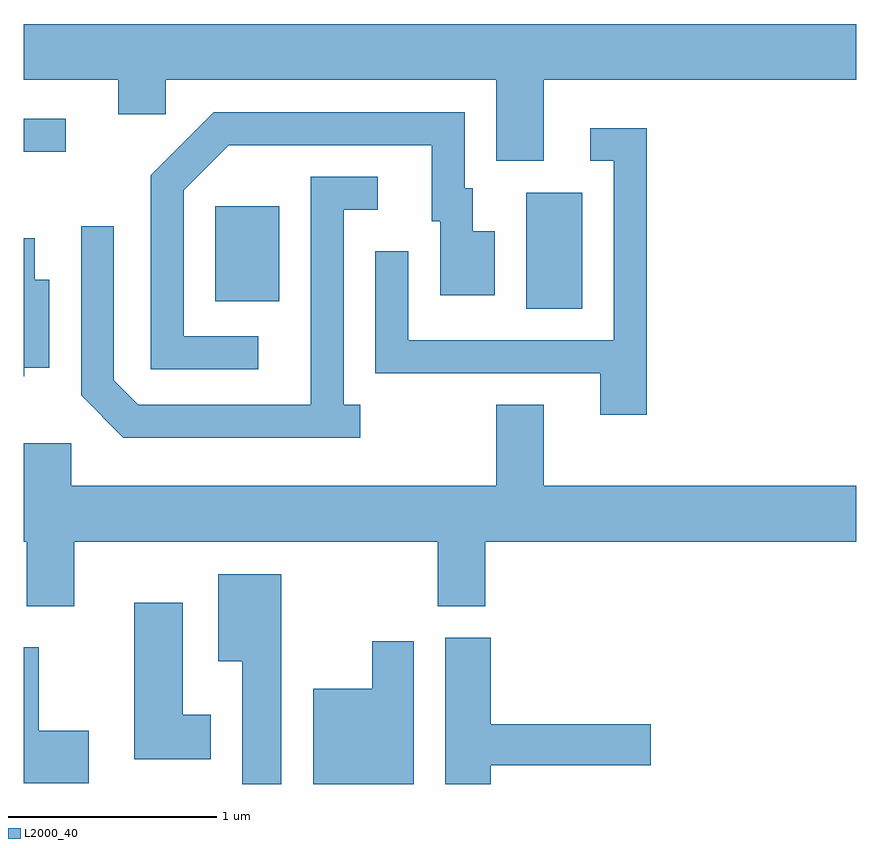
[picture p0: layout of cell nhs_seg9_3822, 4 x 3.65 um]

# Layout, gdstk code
import gdstk
lib = gdstk.Library(unit=1e-6, precision=1e-09)
def R(c, l, rs):  # rectangles x0, y0, x1, y1
    for r in rs: c.add(gdstk.rectangle(r[:2], r[2:], *l))
def P(c, l, *ps):  # polygons
    for p in ps: c.add(gdstk.Polygon(p, *l))
L2000_40 = (2000, 40)

nhs_seg9_3822 = lib.new_cell('nhs_seg9_3822')
R(nhs_seg9_3822, L2000_40, [(300.026,1990.716,300.294,1991.274), (298.531,1990.751,298.839,1991.209), (297.611,1991.471,297.813,1991.629)])
P(nhs_seg9_3822, L2000_40, [(300.109,1991.816),(301.611,1991.816),(301.611,1992.084),(297.611,1992.084),(297.611,1991.816),(298.066,1991.816),(298.066,1991.651),(298.294,1991.651),(298.294,1991.816),(299.881,1991.816),(299.881,1991.426),(300.109,1991.426)],
  [(298.738,1990.584),(298.379,1990.584),(298.379,1991.284),(298.597,1991.501),(299.571,1991.501),(299.571,1991.136),(299.611,1991.136),(299.611,1990.781),(299.874,1990.781),(299.874,1991.089),(299.769,1991.089),(299.769,1991.294),(299.729,1991.294),(299.729,1991.659),(298.524,1991.659),(298.221,1991.357),(298.221,1990.426),(298.738,1990.426)],
  [(300.604,1991.584),(300.333,1991.584),(300.333,1991.426),(300.446,1991.426),(300.446,1990.564),(299.459,1990.564),(299.459,1990.993),(299.301,1990.993),(299.301,1990.406),(300.381,1990.406),(300.381,1990.206),(300.604,1990.206)],
  [(299.228,1990.254),(299.149,1990.254),(299.149,1991.191),(299.313,1991.191),(299.313,1991.349),(298.991,1991.349),(298.991,1990.254),(298.162,1990.254),(298.044,1990.372),(298.044,1991.113),(297.886,1991.113),(297.886,1990.299),(298.089,1990.096),(299.228,1990.096)],
  [(297.614,1990.431),(297.734,1990.431),(297.734,1990.854),(297.664,1990.854),(297.664,1991.054),(297.611,1991.054),(297.611,1990.391),(297.614,1990.391)],
  [(297.854,1989.596),(299.601,1989.596),(299.601,1989.286),(299.829,1989.286),(299.829,1989.596),(301.611,1989.596),(301.611,1989.864),(300.109,1989.864),(300.109,1990.254),(299.881,1990.254),(299.881,1989.864),(297.839,1989.864),(297.839,1990.069),(297.611,1990.069),(297.611,1989.596),(297.626,1989.596),(297.626,1989.286),(297.854,1989.286)],
  [(298.849,1989.439),(298.546,1989.439),(298.546,1989.021),(298.661,1989.021),(298.661,1988.432),(298.849,1988.432)],
  [(298.509,1988.764),(298.374,1988.764),(298.374,1989.304),(298.141,1989.304),(298.141,1988.551),(298.509,1988.551)],
  [(299.854,1988.521),(300.624,1988.521),(300.624,1988.719),(299.854,1988.719),(299.854,1989.134),(299.636,1989.134),(299.636,1988.432),(299.854,1988.432)],
  [(299.484,1989.119),(299.286,1989.119),(299.286,1988.889),(299.001,1988.889),(299.001,1988.432),(299.484,1988.432)],
  [(297.924,1988.689),(297.684,1988.689),(297.684,1989.089),(297.611,1989.089),(297.611,1988.436),(297.924,1988.436)])

lib.write_gds('nhs_seg9_3822.gds')
